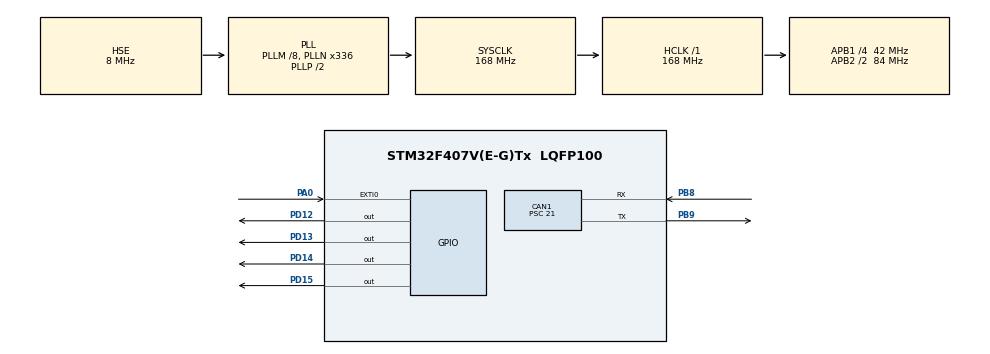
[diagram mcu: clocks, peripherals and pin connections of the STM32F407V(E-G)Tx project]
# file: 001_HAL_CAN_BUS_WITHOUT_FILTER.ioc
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CAN1.BS1=CAN_BS1_10TQ
CAN1.BS2=CAN_BS2_5TQ
CAN1.CalculateBaudRate=125000
CAN1.CalculateTimeBit=8000
CAN1.CalculateTimeQuantum=500.0
CAN1.Prescaler=21
Mcu.Family=STM32F4
Mcu.Name=STM32F407V(E-G)Tx
Mcu.Package=LQFP100
NVIC.CAN1_RX0_IRQn=true\:0\:1\:false\:false\:true\:true\:true\:true
NVIC.EXTI0_IRQn=true\:0\:0\:true\:false\:true\:true\:true\:true
NVIC.PriorityGroup=NVIC_PRIORITYGROUP_0
PA0-WKUP.Signal=GPXTI0
PB8.Mode=CAN_Activate
PB8.Signal=CAN1_RX
PB9.Mode=CAN_Activate
PB9.Signal=CAN1_TX
PD12.Signal=GPIO_Output
PD13.Signal=GPIO_Output
PD14.Signal=GPIO_Output
PD15.Signal=GPIO_Output
PH0-OSC_IN.Mode=HSE-External-Oscillator
PH0-OSC_IN.Signal=RCC_OSC_IN
PH1-OSC_OUT.Mode=HSE-External-Oscillator
PH1-OSC_OUT.Signal=RCC_OSC_OUT
ProjectManager.HeapSize=0x200
ProjectManager.StackSize=0x400
ProjectManager.TargetToolchain=STM32CubeIDE
RCC.48MHZClocksFreq_Value=48000000
RCC.AHBFreq_Value=168000000
RCC.APB1CLKDivider=RCC_HCLK_DIV4
RCC.APB1Freq_Value=42000000
RCC.APB1TimFreq_Value=84000000
RCC.APB2CLKDivider=RCC_HCLK_DIV2
RCC.APB2Freq_Value=84000000
RCC.APB2TimFreq_Value=168000000
RCC.CortexFreq_Value=168000000
RCC.HCLKFreq_Value=168000000
RCC.HSE_VALUE=8000000
RCC.HSI_VALUE=16000000
RCC.PLLM=8
RCC.PLLN=336
RCC.PLLQ=7
RCC.PLLSourceVirtual=RCC_PLLSOURCE_HSE
RCC.SYSCLKFreq_VALUE=168000000
RCC.SYSCLKSource=RCC_SYSCLKSOURCE_PLLCLK
RCC.VCOOutputFreq_Value=336000000
board=STM32F407G-DISC1

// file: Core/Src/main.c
/* USER CODE BEGIN Header */
/**
  ******************************************************************************
  * @file           : main.c
  * @brief          : Main program body
  ******************************************************************************
  * @attention
  *
  * Copyright (c) 2025 STMicroelectronics.
  * All rights reserved.
  *
  * This software is licensed under terms that can be found in the LICENSE file
  * in the root directory of this software component.
  * If no LICENSE file comes with this software, it is provided AS-IS.
  *
  ******************************************************************************
  */
/* USER CODE END Header */
#include "main.h"

CAN_HandleTypeDef hcan1;

/* USER CODE BEGIN PV */
CAN_TxHeaderTypeDef pHeader;
CAN_TxHeaderTypeDef rxHeader;

CAN_FilterTypeDef sFilterConfig;

uint32_t pTxMailbox;
/* USER CODE END PV */

void SystemClock_Config(void);
static void MX_GPIO_Init(void);
static void MX_CAN1_Init(void);

int main(void)
{

  /* MCU Configuration--------------------------------------------------------*/

  /* Reset of all peripherals, Initializes the Flash interface and the Systick. */
  HAL_Init();

  /* Configure the system clock */
  SystemClock_Config();

  /* Initialize all configured peripherals */
  MX_GPIO_Init();
  MX_CAN1_Init();
  /* USER CODE BEGIN 2 */
  // Start CAN communication

  HAL_CAN_Start(&hcan1);
  // Enable interrupt
  HAL_CAN_ActivateNotification(&hcan1, CAN_IT_RX_FIFO0_MSG_PENDING);

  // Set Transmit Parameters
  pHeader.DLC = 1 ; /*!<  This parameter must be a number between Min_Data = 0 and Max_Data = 8. */
  pHeader.IDE = CAN_ID_STD;		/*!< Specifies the type of identifier for the message that will be transmitted.*/
  pHeader.RTR =  CAN_RTR_DATA;				//is parameter can be a value of @ref CAN_remote_transmission_request
  pHeader.StdId = 0x07E4;

  // Set filter parameters
  sFilterConfig.FilterActivation = CAN_FILTER_ENABLE;
  sFilterConfig.FilterBank = 0;
  sFilterConfig.FilterFIFOAssignment = CAN_FILTER_FIFO0;
  sFilterConfig.FilterIdHigh = 0x0000;
  sFilterConfig.FilterIdLow  = 0x0000;
  sFilterConfig.FilterMaskIdHigh = 0x0000;
  sFilterConfig.FilterMaskIdLow = 0x0000;
  sFilterConfig.FilterMode = CAN_FILTERMODE_IDMASK;
  sFilterConfig.FilterScale = CAN_FILTERSCALE_16BIT;

  HAL_CAN_ConfigFilter(&hcan1, &sFilterConfig);

  /* USER CODE END 2 */

  /* Infinite loop */
  while (1)
  {

  }
}

void SystemClock_Config(void)
{
  RCC_OscInitTypeDef RCC_OscInitStruct = {0};
  RCC_ClkInitTypeDef RCC_ClkInitStruct = {0};

  /** Configure the main internal regulator output voltage
  */
  __HAL_RCC_PWR_CLK_ENABLE();
  __HAL_PWR_VOLTAGESCALING_CONFIG(PWR_REGULATOR_VOLTAGE_SCALE1);

  /** Initializes the RCC Oscillators according to the specified parameters
  * in the RCC_OscInitTypeDef structure.
  */
  RCC_OscInitStruct.OscillatorType = RCC_OSCILLATORTYPE_HSE;
  RCC_OscInitStruct.HSEState = RCC_HSE_ON;
  RCC_OscInitStruct.PLL.PLLState = RCC_PLL_ON;
  RCC_OscInitStruct.PLL.PLLSource = RCC_PLLSOURCE_HSE;
  RCC_OscInitStruct.PLL.PLLM = 8;
  RCC_OscInitStruct.PLL.PLLN = 336;
  RCC_OscInitStruct.PLL.PLLP = RCC_PLLP_DIV2;
  RCC_OscInitStruct.PLL.PLLQ = 7;
  if (HAL_RCC_OscConfig(&RCC_OscInitStruct) != HAL_OK)
  {
    Error_Handler();
  }

  /** Initializes the CPU, AHB and APB buses clocks
  */
  RCC_ClkInitStruct.ClockType = RCC_CLOCKTYPE_HCLK|RCC_CLOCKTYPE_SYSCLK
                              |RCC_CLOCKTYPE_PCLK1|RCC_CLOCKTYPE_PCLK2;
  RCC_ClkInitStruct.SYSCLKSource = RCC_SYSCLKSOURCE_PLLCLK;
  RCC_ClkInitStruct.AHBCLKDivider = RCC_SYSCLK_DIV1;
  RCC_ClkInitStruct.APB1CLKDivider = RCC_HCLK_DIV4;
  RCC_ClkInitStruct.APB2CLKDivider = RCC_HCLK_DIV2;

  if (HAL_RCC_ClockConfig(&RCC_ClkInitStruct, FLASH_LATENCY_5) != HAL_OK)
  {
    Error_Handler();
  }
}

static void MX_CAN1_Init(void)
{

  hcan1.Instance = CAN1;
  hcan1.Init.Prescaler = 21;
  hcan1.Init.Mode = CAN_MODE_NORMAL;
  hcan1.Init.SyncJumpWidth = CAN_SJW_1TQ;
  hcan1.Init.TimeSeg1 = CAN_BS1_10TQ;
  hcan1.Init.TimeSeg2 = CAN_BS2_5TQ;
  hcan1.Init.TimeTriggeredMode = DISABLE;
  hcan1.Init.AutoBusOff = DISABLE;
  hcan1.Init.AutoWakeUp = DISABLE;
  hcan1.Init.AutoRetransmission = DISABLE;
  hcan1.Init.ReceiveFifoLocked = DISABLE;
  hcan1.Init.TransmitFifoPriority = DISABLE;
  if (HAL_CAN_Init(&hcan1) != HAL_OK)
  {
    Error_Handler();
  }

}

static void MX_GPIO_Init(void)
{
  GPIO_InitTypeDef GPIO_InitStruct = {0};

  /* GPIO Ports Clock Enable */
  __HAL_RCC_GPIOH_CLK_ENABLE();
  __HAL_RCC_GPIOA_CLK_ENABLE();
  __HAL_RCC_GPIOD_CLK_ENABLE();
  __HAL_RCC_GPIOB_CLK_ENABLE();

  /*Configure GPIO pin Output Level */
  HAL_GPIO_WritePin(GPIOD, GPIO_PIN_12|GPIO_PIN_13|GPIO_PIN_14|GPIO_PIN_15, GPIO_PIN_RESET);

  /*Configure GPIO pin : PA0 */
  GPIO_InitStruct.Pin = GPIO_PIN_0;
  GPIO_InitStruct.Mode = GPIO_MODE_IT_RISING;
  GPIO_InitStruct.Pull = GPIO_NOPULL;
  HAL_GPIO_Init(GPIOA, &GPIO_InitStruct);

  /*Configure GPIO pins : PD12 PD13 PD14 PD15 */
  GPIO_InitStruct.Pin = GPIO_PIN_12|GPIO_PIN_13|GPIO_PIN_14|GPIO_PIN_15;
  GPIO_InitStruct.Mode = GPIO_MODE_OUTPUT_PP;
  GPIO_InitStruct.Pull = GPIO_NOPULL;
  GPIO_InitStruct.Speed = GPIO_SPEED_FREQ_LOW;
  HAL_GPIO_Init(GPIOD, &GPIO_InitStruct);

  /* EXTI interrupt init*/
  HAL_NVIC_SetPriority(EXTI0_IRQn, 0, 0);
  HAL_NVIC_EnableIRQ(EXTI0_IRQn);

}

void Error_Handler(void)
{
  __disable_irq();
  while (1)
  {
  }
}
